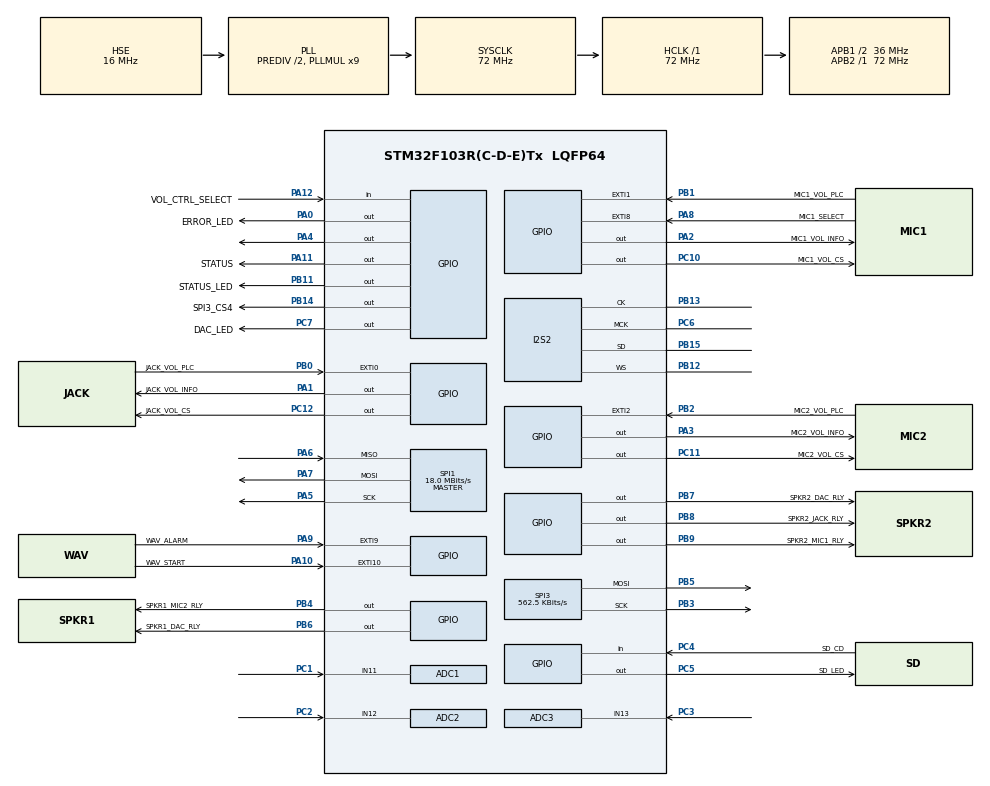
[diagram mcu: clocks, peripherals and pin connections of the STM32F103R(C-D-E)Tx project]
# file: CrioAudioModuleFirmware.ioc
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ADC1.Channel-0\#ChannelRegularConversion=ADC_CHANNEL_11
ADC1.ContinuousConvMode=DISABLE
ADC1.NbrOfConversion=1
ADC1.NbrOfConversionFlag=1
ADC1.Rank-0\#ChannelRegularConversion=1
ADC1.SamplingTime-0\#ChannelRegularConversion=ADC_SAMPLETIME_1CYCLE_5
ADC1.master=1
ADC2.Channel-0\#ChannelRegularConversion=ADC_CHANNEL_12
ADC2.NbrOfConversionFlag=1
ADC2.Rank-0\#ChannelRegularConversion=1
ADC2.SamplingTime-0\#ChannelRegularConversion=ADC_SAMPLETIME_1CYCLE_5
ADC3.Channel-0\#ChannelRegularConversion=ADC_CHANNEL_13
ADC3.NbrOfConversionFlag=1
ADC3.Rank-0\#ChannelRegularConversion=1
ADC3.SamplingTime-0\#ChannelRegularConversion=ADC_SAMPLETIME_1CYCLE_5
Dma.Request0=SPI2_TX
Dma.SPI2_TX.0.Direction=DMA_MEMORY_TO_PERIPH
Dma.SPI2_TX.0.Instance=DMA1_Channel5
Dma.SPI2_TX.0.MemDataAlignment=DMA_MDATAALIGN_HALFWORD
Dma.SPI2_TX.0.MemInc=DMA_MINC_ENABLE
Dma.SPI2_TX.0.Mode=DMA_CIRCULAR
Dma.SPI2_TX.0.PeriphDataAlignment=DMA_PDATAALIGN_HALFWORD
Dma.SPI2_TX.0.PeriphInc=DMA_PINC_DISABLE
Dma.SPI2_TX.0.Priority=DMA_PRIORITY_VERY_HIGH
FATFS._MAX_SS=4096
FATFS._USE_LFN=1
I2S2.AudioFreq=I2S_AUDIOFREQ_22K
I2S2.CPOL=I2S_CPOL_LOW
I2S2.DataFormat=I2S_DATAFORMAT_16B
I2S2.ErrorAudioFreq=-1.66 %
I2S2.Instance=SPI$Index
I2S2.MCLKOutput=I2S_MCLKOUTPUT_ENABLE
I2S2.RealAudioFreq=21.634 KHz
I2S2.Standard=I2S_STANDARD_MSB
I2S2.VirtualMode=I2S_MODE_MASTER
Mcu.Family=STM32F1
Mcu.Name=STM32F103R(C-D-E)Tx
Mcu.Package=LQFP64
NVIC.DMA1_Channel5_IRQn=true\:2\:0\:true\:false\:true\:false\:true\:true
NVIC.EXTI0_IRQn=true\:0\:0\:false\:false\:true\:true\:true\:true
NVIC.EXTI15_10_IRQn=true\:0\:0\:false\:false\:true\:true\:true\:true
NVIC.EXTI1_IRQn=true\:0\:0\:false\:false\:true\:true\:true\:true
NVIC.EXTI2_IRQn=true\:0\:0\:false\:false\:true\:true\:true\:true
NVIC.EXTI9_5_IRQn=true\:0\:0\:false\:false\:true\:true\:true\:true
NVIC.PriorityGroup=NVIC_PRIORITYGROUP_4
PA0-WKUP.GPIO_Label=ERROR_LED
PA0-WKUP.PinState=GPIO_PIN_SET
PA0-WKUP.Signal=GPIO_Output
PA1.GPIO_Label=JACK_VOL_INFO
PA1.GPIO_Speed=GPIO_SPEED_FREQ_HIGH
PA1.Signal=GPIO_Output
PA10.GPIO_Label=WAV_START
PA10.GPIO_ModeDefaultEXTI=GPIO_MODE_IT_FALLING
PA10.GPIO_PuPd=GPIO_NOPULL
PA10.Signal=GPXTI10
PA11.GPIO_Label=STATUS
PA11.GPIO_PuPd=GPIO_PULLDOWN
PA11.GPIO_Speed=GPIO_SPEED_FREQ_HIGH
PA11.Signal=GPIO_Output
PA12.GPIO_Label=VOL_CTRL_SELECT
PA12.GPIO_PuPd=GPIO_PULLUP
PA12.Signal=GPIO_Input
PA2.GPIO_Label=MIC1_VOL_INFO
PA2.GPIO_Speed=GPIO_SPEED_FREQ_HIGH
PA2.Signal=GPIO_Output
PA3.GPIO_Label=MIC2_VOL_INFO
PA3.GPIO_Speed=GPIO_SPEED_FREQ_HIGH
PA3.Signal=GPIO_Output
PA4.GPIO_ModeDefaultOutputPP=GPIO_MODE_OUTPUT_OD
PA4.GPIO_PuPd=GPIO_NOPULL
PA4.GPIO_Speed=GPIO_SPEED_FREQ_HIGH
PA4.PinState=GPIO_PIN_SET
PA4.Signal=GPIO_Output
PA5.Mode=Full_Duplex_Master
PA5.Signal=SPI1_SCK
PA6.GPIO_PuPd=GPIO_NOPULL
PA6.Mode=Full_Duplex_Master
PA6.Signal=SPI1_MISO
PA7.Mode=Full_Duplex_Master
PA7.Signal=SPI1_MOSI
PA8.GPIO_Label=MIC1_SELECT
PA8.GPIO_ModeDefaultEXTI=GPIO_MODE_IT_FALLING
PA8.GPIO_PuPd=GPIO_NOPULL
PA8.Signal=GPXTI8
PA9.GPIO_Label=WAV_ALARM
PA9.GPIO_ModeDefaultEXTI=GPIO_MODE_IT_FALLING
PA9.GPIO_PuPd=GPIO_NOPULL
PA9.Signal=GPXTI9
PB0.GPIO_Label=JACK_VOL_PLC
PB0.GPIO_ModeDefaultEXTI=GPIO_MODE_IT_FALLING
PB0.Signal=GPXTI0
PB1.GPIO_Label=MIC1_VOL_PLC
PB1.GPIO_ModeDefaultEXTI=GPIO_MODE_IT_FALLING
PB1.Signal=GPXTI1
PB11.GPIO_Label=STATUS_LED
PB11.PinState=GPIO_PIN_SET
PB11.Signal=GPIO_Output
PB12.GPIO_Mode=GPIO_MODE_AF_PP
PB12.GPIO_Speed=GPIO_SPEED_FREQ_HIGH
PB12.Mode=Half_Duplex_Master_TX
PB12.Signal=I2S2_WS
PB13.GPIO_Mode=GPIO_MODE_AF_PP
PB13.GPIO_Speed=GPIO_SPEED_FREQ_HIGH
PB13.Mode=Half_Duplex_Master_TX
PB13.Signal=I2S2_CK
PB14.GPIO_Label=SPI3_CS4
PB14.GPIO_Speed=GPIO_SPEED_FREQ_HIGH
PB14.PinState=GPIO_PIN_SET
PB14.Signal=GPIO_Output
PB15.GPIO_Mode=GPIO_MODE_AF_PP
PB15.GPIO_Speed=GPIO_SPEED_FREQ_HIGH
PB15.Mode=Half_Duplex_Master_TX
PB15.Signal=I2S2_SD
PB2.GPIO_Label=MIC2_VOL_PLC
PB2.GPIO_ModeDefaultEXTI=GPIO_MODE_IT_FALLING
PB2.Signal=GPXTI2
PB3.Mode=TX_Only_Simplex_Unidirect_Master
PB3.Signal=SPI3_SCK
PB4.GPIO_Label=SPKR1_MIC2_RLY
PB4.Signal=GPIO_Output
PB5.Mode=TX_Only_Simplex_Unidirect_Master
PB5.Signal=SPI3_MOSI
PB6.GPIO_Label=SPKR1_DAC_RLY
PB6.Signal=GPIO_Output
PB7.GPIO_Label=SPKR2_DAC_RLY
PB7.Signal=GPIO_Output
PB8.GPIO_Label=SPKR2_JACK_RLY
PB8.Signal=GPIO_Output
PB9.GPIO_Label=SPKR2_MIC1_RLY
PB9.Signal=GPIO_Output
PC1.Signal=ADCx_IN11
PC10.GPIO_Label=MIC1_VOL_CS
PC10.GPIO_Speed=GPIO_SPEED_FREQ_HIGH
PC10.PinState=GPIO_PIN_SET
PC10.Signal=GPIO_Output
PC11.GPIO_Label=MIC2_VOL_CS
PC11.GPIO_Speed=GPIO_SPEED_FREQ_HIGH
PC11.PinState=GPIO_PIN_SET
PC11.Signal=GPIO_Output
PC12.GPIO_Label=JACK_VOL_CS
PC12.GPIO_Speed=GPIO_SPEED_FREQ_HIGH
PC12.PinState=GPIO_PIN_SET
PC12.Signal=GPIO_Output
PC2.Signal=ADCx_IN12
PC3.Signal=ADCx_IN13
PC4.GPIO_Label=SD_CD
PC4.GPIO_PuPd=GPIO_PULLUP
PC4.Signal=GPIO_Input
PC5.GPIO_Label=SD_LED
PC5.PinState=GPIO_PIN_SET
PC5.Signal=GPIO_Output
PC6.GPIO_Mode=GPIO_MODE_AF_PP
PC6.GPIO_Speed=GPIO_SPEED_FREQ_HIGH
PC6.Mode=Master_Clock_Activated
PC6.Signal=I2S2_MCK
PC7.GPIO_Label=DAC_LED
PC7.PinState=GPIO_PIN_SET
PC7.Signal=GPIO_Output
PD0-OSC_IN.Mode=HSE-External-Oscillator
PD0-OSC_IN.Signal=RCC_OSC_IN
PD1-OSC_OUT.Mode=HSE-External-Oscillator
PD1-OSC_OUT.Signal=RCC_OSC_OUT
ProjectManager.HeapSize=0x200
ProjectManager.StackSize=0x400
ProjectManager.TargetToolchain=STM32CubeIDE
RCC.ADCPresc=RCC_ADCPCLK2_DIV6
RCC.AHBFreq_Value=72000000
RCC.APB1CLKDivider=RCC_HCLK_DIV2
RCC.APB1Freq_Value=36000000
RCC.APB1TimFreq_Value=72000000
RCC.APB2Freq_Value=72000000
RCC.APB2TimFreq_Value=72000000
RCC.HCLKFreq_Value=72000000
RCC.HSEDivPLL=RCC_HSE_PREDIV_DIV2
RCC.HSE_VALUE=16000000
RCC.PLLMUL=RCC_PLL_MUL9
RCC.PLLSourceVirtual=RCC_PLLSOURCE_HSE
RCC.SYSCLKFreq_VALUE=72000000
RCC.SYSCLKSource=RCC_SYSCLKSOURCE_PLLCLK
RCC.USBFreq_Value=72000000
SH.ADCx_IN11.0=ADC1_IN11,IN11
SH.ADCx_IN12.0=ADC2_IN12,IN12
SH.ADCx_IN13.0=ADC3_IN13,IN13
SPI1.BaudRatePrescaler=SPI_BAUDRATEPRESCALER_4
SPI1.CalculateBaudRate=18.0 MBits/s
SPI1.DataSize=SPI_DATASIZE_8BIT
SPI1.Direction=SPI_DIRECTION_2LINES
SPI1.Mode=SPI_MODE_MASTER
SPI1.VirtualType=VM_MASTER
SPI3.BaudRatePrescaler=SPI_BAUDRATEPRESCALER_64
SPI3.CLKPhase=SPI_PHASE_1EDGE
SPI3.CLKPolarity=SPI_POLARITY_LOW
SPI3.CalculateBaudRate=562.5 KBits/s
SPI3.DataSize=SPI_DATASIZE_8BIT
SPI3.Direction=SPI_DIRECTION_2LINES
SPI3.Mode=SPI_MODE_MASTER
SPI3.VirtualType=VM_MASTER
VP_FATFS_VS_Generic.Mode=User_defined
VP_SYS_VS_ND.Mode=No_Debug
board=custom

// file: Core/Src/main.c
/* USER CODE BEGIN Header */
/**
  ******************************************************************************
  * @file           : main.c
  * @brief          : Main program body
  ******************************************************************************
  * @attention
  *
  * Copyright (c) 2023 STMicroelectronics.
  * All rights reserved.
  *
  * This software is licensed under terms that can be found in the LICENSE file
  * in the root directory of this software component.
  * If no LICENSE file comes with this software, it is provided AS-IS.
  *
  ******************************************************************************
  */
/* USER CODE END Header */
#include "main.h"
#include "fatfs.h"

/* USER CODE BEGIN Includes */
#include "string.h"
#include "math.h"
#include "sd.h"
#include "volumeControl.h"
#include "audioRelays.h"
#include "wavPlayer.h"
#include "statusInfo.h"
/* USER CODE END Includes */

ADC_HandleTypeDef hadc1;
ADC_HandleTypeDef hadc2;
ADC_HandleTypeDef hadc3;

I2S_HandleTypeDef hi2s2;
DMA_HandleTypeDef hdma_spi2_tx;

SPI_HandleTypeDef hspi1;
SPI_HandleTypeDef hspi3;

/* USER CODE BEGIN PV */
VolumeControlPlcSignal miniJackPlcSignal;
VolumeControlPlcSignal mic1PlcSignal;
VolumeControlPlcSignal mic2PlcSignal;
Mic1State mic1State;

extern SDcardStatus sdCardStatus;
extern WavPlayerState wavPlayerState;
extern WavFileSelect wavFileSelect;
extern VolumeControlState miniJackVolumeState;
extern VolumeControlState mic1VolumeState;
extern VolumeControlState mic2VolumeState;
/* USER CODE END PV */

void SystemClock_Config(void);
static void MX_GPIO_Init(void);
static void MX_DMA_Init(void);
static void MX_SPI1_Init(void);
static void MX_I2S2_Init(void);
static void MX_SPI3_Init(void);
static void MX_ADC1_Init(void);
static void MX_ADC2_Init(void);
static void MX_ADC3_Init(void);
/* USER CODE BEGIN PFP */
void HAL_I2S_TxCpltCallback(I2S_HandleTypeDef *hi2s);
void HAL_I2S_TxHalfCpltCallback(I2S_HandleTypeDef *hi2s);
/* USER CODE END PFP */

int main(void)
{

  /* MCU Configuration--------------------------------------------------------*/

  /* Reset of all peripherals, Initializes the Flash interface and the Systick. */
  HAL_Init();

  /* Configure the system clock */
  SystemClock_Config();

  /* USER CODE BEGIN SysInit */
  HAL_I2S_MspInit(&hi2s2);
  /* USER CODE END SysInit */

  /* Initialize all configured peripherals */
  MX_GPIO_Init();
  MX_DMA_Init();
  MX_FATFS_Init();
  MX_SPI1_Init();
  MX_I2S2_Init();
  MX_SPI3_Init();
  MX_ADC1_Init();
  MX_ADC2_Init();
  MX_ADC3_Init();
  /* USER CODE BEGIN 2 */

  miniJackVolumeState = VOLUME_INIT;
  mic1VolumeState = VOLUME_INIT;
  mic2VolumeState = VOLUME_INIT;

  miniJackPlcSignal = VOLUME_PLC_IDLE;
  mic1PlcSignal = VOLUME_PLC_IDLE;
  mic2PlcSignal = VOLUME_PLC_IDLE;

  sdCardStatus = NO_SD;

  RelaySPKR2(JACK);
  RelaySPKR1(MIC2);

  wavPlayerState = WAV_STATE_IDLE;
  mic1State = MIC1_OFF;
  HAL_ADC_Start(&hadc1);
  HAL_ADC_Start(&hadc2);
  HAL_ADC_Start(&hadc3);

  /* USER CODE END 2 */

  /* Infinite loop */
  /* USER CODE BEGIN WHILE */
  while (1)
  {
	  // if card isn't mounted and card is detected - mount it
	  if (sdCardStatus != OK && HAL_GPIO_ReadPin(SD_CD_GPIO_Port, SD_CD_Pin) == GPIO_PIN_RESET)
	  {
		  if (SDMount())
		  {
			  sdCardStatus = OK;
			  wavPlayerState = WAV_STATE_IDLE;
			  sdConfigFile_readVolume();
		  }
		  else
		  {
			  sdCardStatus = ERROR_SD;
		  }
	  }
	  // unmount card if disconnected
	  if (sdCardStatus != NO_SD && HAL_GPIO_ReadPin(SD_CD_GPIO_Port, SD_CD_Pin) == GPIO_PIN_SET)
	  {
		  SDUnmount();
		  sdCardStatus = NO_SD;
		  wavPlayerState = WAV_STATE_IDLE;
	  }
	  WAVPlayerProcess(&hi2s2);
	  MiniJackVolumeProcess();
	  Mic1VolumeProcess();
	  Mic2VolumeProcess();
    /* USER CODE END WHILE */

  }
}

void SystemClock_Config(void)
{
  RCC_OscInitTypeDef RCC_OscInitStruct = {0};
  RCC_ClkInitTypeDef RCC_ClkInitStruct = {0};
  RCC_PeriphCLKInitTypeDef PeriphClkInit = {0};

  /** Initializes the RCC Oscillators according to the specified parameters
  * in the RCC_OscInitTypeDef structure.
  */
  RCC_OscInitStruct.OscillatorType = RCC_OSCILLATORTYPE_HSE;
  RCC_OscInitStruct.HSEState = RCC_HSE_ON;
  RCC_OscInitStruct.HSEPredivValue = RCC_HSE_PREDIV_DIV2;
  RCC_OscInitStruct.HSIState = RCC_HSI_ON;
  RCC_OscInitStruct.PLL.PLLState = RCC_PLL_ON;
  RCC_OscInitStruct.PLL.PLLSource = RCC_PLLSOURCE_HSE;
  RCC_OscInitStruct.PLL.PLLMUL = RCC_PLL_MUL9;
  if (HAL_RCC_OscConfig(&RCC_OscInitStruct) != HAL_OK)
  {
    Error_Handler();
  }

  /** Initializes the CPU, AHB and APB buses clocks
  */
  RCC_ClkInitStruct.ClockType = RCC_CLOCKTYPE_HCLK|RCC_CLOCKTYPE_SYSCLK
                              |RCC_CLOCKTYPE_PCLK1|RCC_CLOCKTYPE_PCLK2;
  RCC_ClkInitStruct.SYSCLKSource = RCC_SYSCLKSOURCE_PLLCLK;
  RCC_ClkInitStruct.AHBCLKDivider = RCC_SYSCLK_DIV1;
  RCC_ClkInitStruct.APB1CLKDivider = RCC_HCLK_DIV2;
  RCC_ClkInitStruct.APB2CLKDivider = RCC_HCLK_DIV1;

  if (HAL_RCC_ClockConfig(&RCC_ClkInitStruct, FLASH_LATENCY_2) != HAL_OK)
  {
    Error_Handler();
  }
  PeriphClkInit.PeriphClockSelection = RCC_PERIPHCLK_ADC|RCC_PERIPHCLK_I2S2;
  PeriphClkInit.AdcClockSelection = RCC_ADCPCLK2_DIV6;
  PeriphClkInit.I2s2ClockSelection = RCC_I2S2CLKSOURCE_SYSCLK;
  if (HAL_RCCEx_PeriphCLKConfig(&PeriphClkInit) != HAL_OK)
  {
    Error_Handler();
  }
}

static void MX_ADC1_Init(void)
{

  ADC_ChannelConfTypeDef sConfig = {0};

  /** Common config
  */
  hadc1.Instance = ADC1;
  hadc1.Init.ScanConvMode = ADC_SCAN_DISABLE;
  hadc1.Init.ContinuousConvMode = DISABLE;
  hadc1.Init.DiscontinuousConvMode = DISABLE;
  hadc1.Init.ExternalTrigConv = ADC_SOFTWARE_START;
  hadc1.Init.DataAlign = ADC_DATAALIGN_RIGHT;
  hadc1.Init.NbrOfConversion = 1;
  if (HAL_ADC_Init(&hadc1) != HAL_OK)
  {
    Error_Handler();
  }

  /** Configure Regular Channel
  */
  sConfig.Channel = ADC_CHANNEL_11;
  sConfig.Rank = ADC_REGULAR_RANK_1;
  sConfig.SamplingTime = ADC_SAMPLETIME_1CYCLE_5;
  if (HAL_ADC_ConfigChannel(&hadc1, &sConfig) != HAL_OK)
  {
    Error_Handler();
  }
  /* USER CODE BEGIN ADC1_Init 2 */

  HAL_ADCEx_Calibration_Start(&hadc1);

  /* USER CODE END ADC1_Init 2 */

}

static void MX_ADC2_Init(void)
{

  ADC_ChannelConfTypeDef sConfig = {0};

  /** Common config
  */
  hadc2.Instance = ADC2;
  hadc2.Init.ScanConvMode = ADC_SCAN_DISABLE;
  hadc2.Init.ContinuousConvMode = DISABLE;
  hadc2.Init.DiscontinuousConvMode = DISABLE;
  hadc2.Init.ExternalTrigConv = ADC_SOFTWARE_START;
  hadc2.Init.DataAlign = ADC_DATAALIGN_RIGHT;
  hadc2.Init.NbrOfConversion = 1;
  if (HAL_ADC_Init(&hadc2) != HAL_OK)
  {
    Error_Handler();
  }

  /** Configure Regular Channel
  */
  sConfig.Channel = ADC_CHANNEL_12;
  sConfig.Rank = ADC_REGULAR_RANK_1;
  sConfig.SamplingTime = ADC_SAMPLETIME_1CYCLE_5;
  if (HAL_ADC_ConfigChannel(&hadc2, &sConfig) != HAL_OK)
  {
    Error_Handler();
  }
  /* USER CODE BEGIN ADC2_Init 2 */

  HAL_ADCEx_Calibration_Start(&hadc2);

  /* USER CODE END ADC2_Init 2 */

}

static void MX_ADC3_Init(void)
{

  ADC_ChannelConfTypeDef sConfig = {0};

  /** Common config
  */
  hadc3.Instance = ADC3;
  hadc3.Init.ScanConvMode = ADC_SCAN_DISABLE;
  hadc3.Init.ContinuousConvMode = DISABLE;
  hadc3.Init.DiscontinuousConvMode = DISABLE;
  hadc3.Init.ExternalTrigConv = ADC_SOFTWARE_START;
  hadc3.Init.DataAlign = ADC_DATAALIGN_RIGHT;
  hadc3.Init.NbrOfConversion = 1;
  if (HAL_ADC_Init(&hadc3) != HAL_OK)
  {
    Error_Handler();
  }

  /** Configure Regular Channel
  */
  sConfig.Channel = ADC_CHANNEL_13;
  sConfig.Rank = ADC_REGULAR_RANK_1;
  sConfig.SamplingTime = ADC_SAMPLETIME_1CYCLE_5;
  if (HAL_ADC_ConfigChannel(&hadc3, &sConfig) != HAL_OK)
  {
    Error_Handler();
  }
  /* USER CODE BEGIN ADC3_Init 2 */

  HAL_ADCEx_Calibration_Start(&hadc3);

  /* USER CODE END ADC3_Init 2 */

}

static void MX_I2S2_Init(void)
{

  hi2s2.Instance = SPI2;
  hi2s2.Init.Mode = I2S_MODE_MASTER_TX;
  hi2s2.Init.Standard = I2S_STANDARD_MSB;
  hi2s2.Init.DataFormat = I2S_DATAFORMAT_16B;
  hi2s2.Init.MCLKOutput = I2S_MCLKOUTPUT_ENABLE;
  hi2s2.Init.AudioFreq = I2S_AUDIOFREQ_22K;
  hi2s2.Init.CPOL = I2S_CPOL_LOW;
  if (HAL_I2S_Init(&hi2s2) != HAL_OK)
  {
    Error_Handler();
  }

}

static void MX_SPI1_Init(void)
{

  /* SPI1 parameter configuration*/
  hspi1.Instance = SPI1;
  hspi1.Init.Mode = SPI_MODE_MASTER;
  hspi1.Init.Direction = SPI_DIRECTION_2LINES;
  hspi1.Init.DataSize = SPI_DATASIZE_8BIT;
  hspi1.Init.CLKPolarity = SPI_POLARITY_LOW;
  hspi1.Init.CLKPhase = SPI_PHASE_1EDGE;
  hspi1.Init.NSS = SPI_NSS_SOFT;
  hspi1.Init.BaudRatePrescaler = SPI_BAUDRATEPRESCALER_4;
  hspi1.Init.FirstBit = SPI_FIRSTBIT_MSB;
  hspi1.Init.TIMode = SPI_TIMODE_DISABLE;
  hspi1.Init.CRCCalculation = SPI_CRCCALCULATION_DISABLE;
  hspi1.Init.CRCPolynomial = 10;
  if (HAL_SPI_Init(&hspi1) != HAL_OK)
  {
    Error_Handler();
  }

}

static void MX_SPI3_Init(void)
{

  /* SPI3 parameter configuration*/
  hspi3.Instance = SPI3;
  hspi3.Init.Mode = SPI_MODE_MASTER;
  hspi3.Init.Direction = SPI_DIRECTION_2LINES;
  hspi3.Init.DataSize = SPI_DATASIZE_8BIT;
  hspi3.Init.CLKPolarity = SPI_POLARITY_LOW;
  hspi3.Init.CLKPhase = SPI_PHASE_1EDGE;
  hspi3.Init.NSS = SPI_NSS_SOFT;
  hspi3.Init.BaudRatePrescaler = SPI_BAUDRATEPRESCALER_64;
  hspi3.Init.FirstBit = SPI_FIRSTBIT_MSB;
  hspi3.Init.TIMode = SPI_TIMODE_DISABLE;
  hspi3.Init.CRCCalculation = SPI_CRCCALCULATION_DISABLE;
  hspi3.Init.CRCPolynomial = 10;
  if (HAL_SPI_Init(&hspi3) != HAL_OK)
  {
    Error_Handler();
  }

}

static void MX_DMA_Init(void)
{

  /* DMA controller clock enable */
  __HAL_RCC_DMA1_CLK_ENABLE();

  /* DMA interrupt init */
  /* DMA1_Channel5_IRQn interrupt configuration */
  HAL_NVIC_SetPriority(DMA1_Channel5_IRQn, 2, 0);
  HAL_NVIC_EnableIRQ(DMA1_Channel5_IRQn);

}

static void MX_GPIO_Init(void)
{
  GPIO_InitTypeDef GPIO_InitStruct = {0};

  /* GPIO Ports Clock Enable */
  __HAL_RCC_GPIOD_CLK_ENABLE();
  __HAL_RCC_GPIOC_CLK_ENABLE();
  __HAL_RCC_GPIOA_CLK_ENABLE();
  __HAL_RCC_GPIOB_CLK_ENABLE();

  /*Configure GPIO pin Output Level */
  HAL_GPIO_WritePin(GPIOA, ERROR_LED_Pin|GPIO_PIN_4, GPIO_PIN_SET);

  /*Configure GPIO pin Output Level */
  HAL_GPIO_WritePin(GPIOA, JACK_VOL_INFO_Pin|MIC1_VOL_INFO_Pin|MIC2_VOL_INFO_Pin|STATUS_Pin, GPIO_PIN_RESET);

  /*Configure GPIO pin Output Level */
  HAL_GPIO_WritePin(GPIOC, SD_LED_Pin|DAC_LED_Pin|MIC1_VOL_CS_Pin|MIC2_VOL_CS_Pin
                          |JACK_VOL_CS_Pin, GPIO_PIN_SET);

  /*Configure GPIO pin Output Level */
  HAL_GPIO_WritePin(GPIOB, STATUS_LED_Pin|SPI3_CS4_Pin, GPIO_PIN_SET);

  /*Configure GPIO pin Output Level */
  HAL_GPIO_WritePin(GPIOB, SPKR1_MIC2_RLY_Pin|SPKR1_DAC_RLY_Pin|SPKR2_DAC_RLY_Pin|SPKR2_JACK_RLY_Pin
                          |SPKR2_MIC1_RLY_Pin, GPIO_PIN_RESET);

  /*Configure GPIO pin : ERROR_LED_Pin */
  GPIO_InitStruct.Pin = ERROR_LED_Pin;
  GPIO_InitStruct.Mode = GPIO_MODE_OUTPUT_PP;
  GPIO_InitStruct.Pull = GPIO_NOPULL;
  GPIO_InitStruct.Speed = GPIO_SPEED_FREQ_LOW;
  HAL_GPIO_Init(ERROR_LED_GPIO_Port, &GPIO_InitStruct);

  /*Configure GPIO pins : JACK_VOL_INFO_Pin MIC1_VOL_INFO_Pin MIC2_VOL_INFO_Pin */
  GPIO_InitStruct.Pin = JACK_VOL_INFO_Pin|MIC1_VOL_INFO_Pin|MIC2_VOL_INFO_Pin;
  GPIO_InitStruct.Mode = GPIO_MODE_OUTPUT_PP;
  GPIO_InitStruct.Pull = GPIO_NOPULL;
  GPIO_InitStruct.Speed = GPIO_SPEED_FREQ_HIGH;
  HAL_GPIO_Init(GPIOA, &GPIO_InitStruct);

  /*Configure GPIO pin : PA4 */
  GPIO_InitStruct.Pin = GPIO_PIN_4;
  GPIO_InitStruct.Mode = GPIO_MODE_OUTPUT_OD;
  GPIO_InitStruct.Pull = GPIO_NOPULL;
  GPIO_InitStruct.Speed = GPIO_SPEED_FREQ_HIGH;
  HAL_GPIO_Init(GPIOA, &GPIO_InitStruct);

  /*Configure GPIO pin : SD_CD_Pin */
  GPIO_InitStruct.Pin = SD_CD_Pin;
  GPIO_InitStruct.Mode = GPIO_MODE_INPUT;
  GPIO_InitStruct.Pull = GPIO_PULLUP;
  HAL_GPIO_Init(SD_CD_GPIO_Port, &GPIO_InitStruct);

  /*Configure GPIO pins : SD_LED_Pin DAC_LED_Pin */
  GPIO_InitStruct.Pin = SD_LED_Pin|DAC_LED_Pin;
  GPIO_InitStruct.Mode = GPIO_MODE_OUTPUT_PP;
  GPIO_InitStruct.Pull = GPIO_NOPULL;
  GPIO_InitStruct.Speed = GPIO_SPEED_FREQ_LOW;
  HAL_GPIO_Init(GPIOC, &GPIO_InitStruct);

  /*Configure GPIO pins : JACK_VOL_PLC_Pin MIC1_VOL_PLC_Pin MIC2_VOL_PLC_Pin */
  GPIO_InitStruct.Pin = JACK_VOL_PLC_Pin|MIC1_VOL_PLC_Pin|MIC2_VOL_PLC_Pin;
  GPIO_InitStruct.Mode = GPIO_MODE_IT_FALLING;
  GPIO_InitStruct.Pull = GPIO_NOPULL;
  HAL_GPIO_Init(GPIOB, &GPIO_InitStruct);

  /*Configure GPIO pins : STATUS_LED_Pin SPKR1_MIC2_RLY_Pin SPKR1_DAC_RLY_Pin SPKR2_DAC_RLY_Pin
                           SPKR2_JACK_RLY_Pin SPKR2_MIC1_RLY_Pin */
  GPIO_InitStruct.Pin = STATUS_LED_Pin|SPKR1_MIC2_RLY_Pin|SPKR1_DAC_RLY_Pin|SPKR2_DAC_RLY_Pin
                          |SPKR2_JACK_RLY_Pin|SPKR2_MIC1_RLY_Pin;
  GPIO_InitStruct.Mode = GPIO_MODE_OUTPUT_PP;
  GPIO_InitStruct.Pull = GPIO_NOPULL;
  GPIO_InitStruct.Speed = GPIO_SPEED_FREQ_LOW;
  HAL_GPIO_Init(GPIOB, &GPIO_InitStruct);

  /*Configure GPIO pin : SPI3_CS4_Pin */
  GPIO_InitStruct.Pin = SPI3_CS4_Pin;
  GPIO_InitStruct.Mode = GPIO_MODE_OUTPUT_PP;
  GPIO_InitStruct.Pull = GPIO_NOPULL;
  GPIO_InitStruct.Speed = GPIO_SPEED_FREQ_HIGH;
  HAL_GPIO_Init(SPI3_CS4_GPIO_Port, &GPIO_InitStruct);

  /*Configure GPIO pins : MIC1_SELECT_Pin WAV_ALARM_Pin WAV_START_Pin */
  GPIO_InitStruct.Pin = MIC1_SELECT_Pin|WAV_ALARM_Pin|WAV_START_Pin;
  GPIO_InitStruct.Mode = GPIO_MODE_IT_FALLING;
  GPIO_InitStruct.Pull = GPIO_NOPULL;
  HAL_GPIO_Init(GPIOA, &GPIO_InitStruct);

  /*Configure GPIO pin : STATUS_Pin */
  GPIO_InitStruct.Pin = STATUS_Pin;
  GPIO_InitStruct.Mode = GPIO_MODE_OUTPUT_PP;
  GPIO_InitStruct.Pull = GPIO_PULLDOWN;
  GPIO_InitStruct.Speed = GPIO_SPEED_FREQ_HIGH;
  HAL_GPIO_Init(STATUS_GPIO_Port, &GPIO_InitStruct);

  /*Configure GPIO pin : VOL_CTRL_SELECT_Pin */
  GPIO_InitStruct.Pin = VOL_CTRL_SELECT_Pin;
  GPIO_InitStruct.Mode = GPIO_MODE_INPUT;
  GPIO_InitStruct.Pull = GPIO_PULLUP;
  HAL_GPIO_Init(VOL_CTRL_SELECT_GPIO_Port, &GPIO_InitStruct);

  /*Configure GPIO pins : MIC1_VOL_CS_Pin MIC2_VOL_CS_Pin JACK_VOL_CS_Pin */
  GPIO_InitStruct.Pin = MIC1_VOL_CS_Pin|MIC2_VOL_CS_Pin|JACK_VOL_CS_Pin;
  GPIO_InitStruct.Mode = GPIO_MODE_OUTPUT_PP;
  GPIO_InitStruct.Pull = GPIO_NOPULL;
  GPIO_InitStruct.Speed = GPIO_SPEED_FREQ_HIGH;
  HAL_GPIO_Init(GPIOC, &GPIO_InitStruct);

  /* EXTI interrupt init*/
  HAL_NVIC_SetPriority(EXTI0_IRQn, 0, 0);
  HAL_NVIC_EnableIRQ(EXTI0_IRQn);

  HAL_NVIC_SetPriority(EXTI1_IRQn, 0, 0);
  HAL_NVIC_EnableIRQ(EXTI1_IRQn);

  HAL_NVIC_SetPriority(EXTI2_IRQn, 0, 0);
  HAL_NVIC_EnableIRQ(EXTI2_IRQn);

  HAL_NVIC_SetPriority(EXTI9_5_IRQn, 0, 0);
  HAL_NVIC_EnableIRQ(EXTI9_5_IRQn);

  HAL_NVIC_SetPriority(EXTI15_10_IRQn, 0, 0);
  HAL_NVIC_EnableIRQ(EXTI15_10_IRQn);

}

/* USER CODE BEGIN 4 */

void HAL_I2S_TxCpltCallback(I2S_HandleTypeDef *hi2s)
{
	WAVPlayerBufferState(2);
}

void HAL_I2S_TxHalfCpltCallback(I2S_HandleTypeDef *hi2s)
{
	WAVPlayerBufferState(1);
}

void HAL_GPIO_EXTI_Callback(uint16_t GPIO_Pin)
{
	if (GPIO_Pin == JACK_VOL_PLC_Pin)
	{
		// Read volume control signal only if we don't choose potentiometers
		if (HAL_GPIO_ReadPin(VOL_CTRL_SELECT_GPIO_Port, VOL_CTRL_SELECT_Pin) != GPIO_PIN_RESET)
		{
			miniJackPlcSignal = VOLUME_PLC_ACTIVE;
		}
	}
	if (GPIO_Pin == MIC1_VOL_PLC_Pin)
	{
		if (HAL_GPIO_ReadPin(VOL_CTRL_SELECT_GPIO_Port, VOL_CTRL_SELECT_Pin) != GPIO_PIN_RESET)
		{
			mic1PlcSignal = VOLUME_PLC_ACTIVE;
		}
	}
	if (GPIO_Pin == MIC2_VOL_PLC_Pin)
	{
		if (HAL_GPIO_ReadPin(VOL_CTRL_SELECT_GPIO_Port, VOL_CTRL_SELECT_Pin) != GPIO_PIN_RESET)
		{
			mic2PlcSignal = VOLUME_PLC_ACTIVE;
		}
	}
	if (GPIO_Pin == WAV_START_Pin)
	{
		wavFileSelect = WAV_FILE_START;
		wavPlayerState = WAV_STATE_START;
	}
	if (GPIO_Pin == WAV_ALARM_Pin)
	{
		wavFileSelect = WAV_FILE_ALARM;
		wavPlayerState = WAV_STATE_START;
	}

	// Turn on operator microphone
	if (GPIO_Pin == MIC1_SELECT_Pin)
	{
		mic1State = MIC1_STARTUP;
	}
}

/* USER CODE END 4 */

void Error_Handler(void)
{
  __disable_irq();
  while (1)
  {
  }
}
